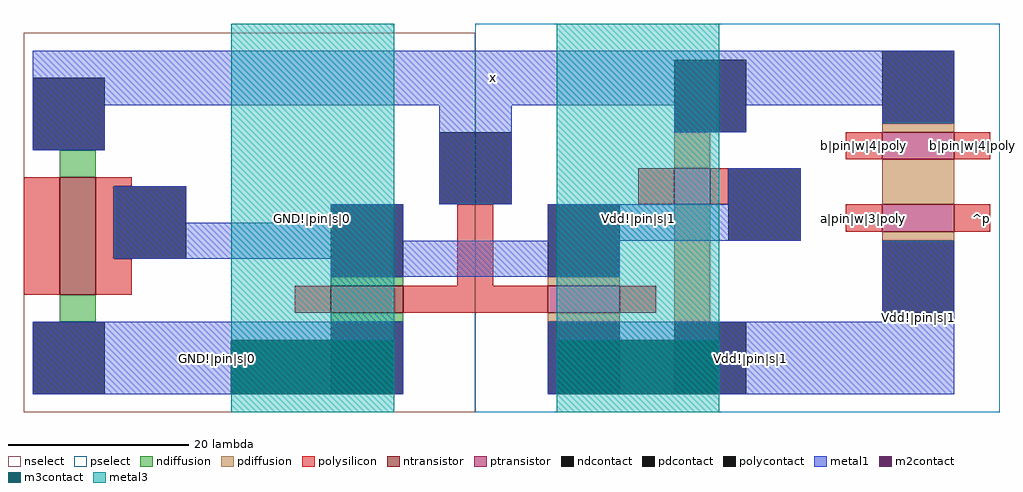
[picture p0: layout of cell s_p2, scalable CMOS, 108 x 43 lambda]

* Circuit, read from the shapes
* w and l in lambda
.subckt s_p2 GND!|pin|s|0 Vdd!|pin|s|1 a|pin|w|3|poly b|pin|w|4|poly x
M1 x n1 GND!|pin|s|0 VSUBS nfet w=4 l=13
M2 n1 x GND!|pin|s|0 VSUBS nfet w=8 l=3
M3 n1 x Vdd!|pin|s|1 NWELL pfet w=8 l=3
M4 x n1 Vdd!|pin|s|1 NWELL pfet w=4 l=4
M5 n2 a|pin|w|3|poly Vdd!|pin|s|1 NWELL pfet w=8 l=3
M6 x b|pin|w|4|poly n2 NWELL pfet w=8 l=3
.ends

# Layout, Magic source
magic
tech scmos
<< nselect >>
rect -50 49 0 91
<< pselect >>
rect 0 49 58 92
<< ndiffusion >>
rect -46 75 -42 78
rect -16 63 -8 64
rect -46 59 -42 62
rect -16 59 -8 60
<< pdiffusion >>
rect 45 80 53 81
rect 22 76 26 80
rect 8 63 16 64
rect 8 59 16 60
rect 22 59 26 72
rect 45 72 53 77
rect 45 68 53 69
<< ntransistor >>
rect -46 62 -42 75
rect -16 60 -8 63
<< ptransistor >>
rect 45 77 53 80
rect 22 72 26 76
rect 8 60 16 63
rect 45 69 53 72
<< polysilicon >>
rect -50 62 -46 75
rect -42 74 -38 75
rect -42 66 -40 74
rect 41 77 45 80
rect 53 77 57 80
rect 18 72 22 76
rect 26 72 28 76
rect -42 62 -38 66
rect -2 63 2 72
rect -20 60 -16 63
rect -8 60 8 63
rect 16 60 20 63
rect 41 69 45 72
rect 53 69 57 72
<< ndcontact >>
rect -49 78 -41 86
rect -16 64 -8 72
rect -49 51 -41 59
rect -16 51 -8 59
<< pdcontact >>
rect 22 80 30 88
rect 45 81 53 89
rect 8 64 16 72
rect 8 51 16 59
rect 45 60 53 68
rect 22 51 30 59
<< polycontact >>
rect -40 66 -32 74
rect -4 72 4 80
rect 28 68 36 76
<< metal1 >>
rect -49 83 53 89
rect -49 78 -41 83
rect -40 70 -32 74
rect -4 72 4 83
rect 22 80 30 83
rect 45 81 53 83
rect 28 72 36 76
rect -16 70 -8 72
rect -40 68 -8 70
rect 8 68 36 72
rect -40 66 16 68
rect -16 64 16 66
rect 45 59 53 68
rect -49 57 -8 59
rect -49 51 -27 57
rect -9 51 -8 57
rect 8 57 53 59
rect 8 51 9 57
rect 27 51 53 57
<< m2contact >>
rect -27 51 -9 57
rect 9 51 27 57
<< m3contact >>
rect -27 51 -9 57
rect 9 51 27 57
<< metal3 >>
rect -27 49 -9 92
rect 9 49 27 92
<< labels >>
rlabel metal1 -49 83 53 89 1 x
rlabel space 53 49 59 92 3 ^p
rlabel metal3 -27 49 -9 92 1 GND!|pin|s|0
rlabel metal3 9 49 27 92 1 Vdd!|pin|s|1
rlabel metal1 -49 51 -8 59 1 GND!|pin|s|0
rlabel metal1 8 51 53 59 1 Vdd!|pin|s|1
rlabel metal1 45 51 53 68 1 Vdd!|pin|s|1
rlabel polysilicon 41 69 45 72 1 a|pin|w|3|poly
rlabel polysilicon 53 69 57 72 1 a|pin|w|3|poly
rlabel polysilicon 41 77 45 80 1 b|pin|w|4|poly
rlabel polysilicon 53 77 57 80 1 b|pin|w|4|poly
<< end >>
